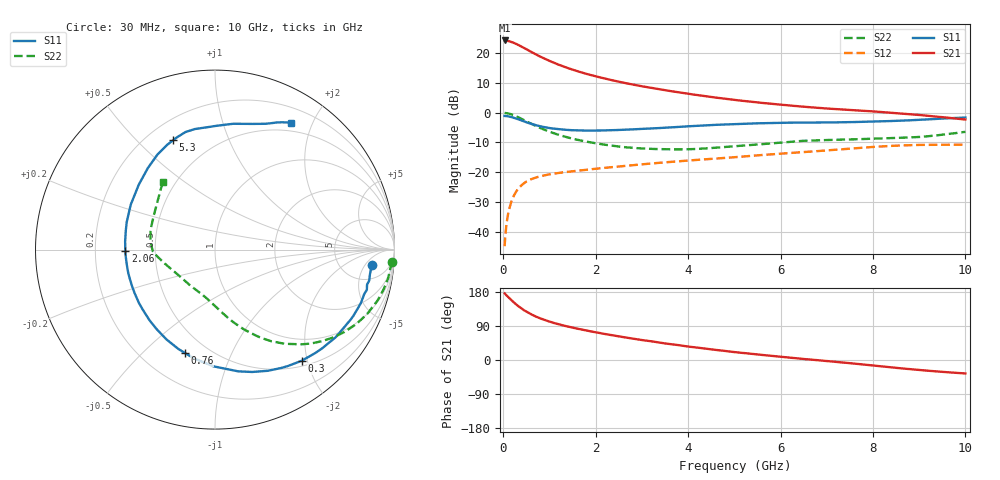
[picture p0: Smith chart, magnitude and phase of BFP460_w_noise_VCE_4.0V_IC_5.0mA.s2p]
! (c) 2016  Infineon Technologies AG, Munich
! Infineon Technologies  Discrete & RF Semiconductors
! BFP460
! VCE =  4.0 V,  IC =  5.0 mA
! Common Emitter S-Parameters:  Jan 2016
# GHz  S  MA  R  50
!  f  S11  S21  S12  S22
! GHz  MAG  ANG  MAG  ANG  MAG  ANG  MAG  ANG
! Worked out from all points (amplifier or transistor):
!   229 points, 30 MHz to 10 GHz, reference 50 ohm
!   highest |S21| = 24.2 dB at 30 MHz (marker M1)
!   |S21| within 3 dB of that: start of sweep to 506.2 MHz
!   unconditionally stable (mu >= 1): 3.079 GHz to 7.762 GHz
!   at 280 MHz: K = 0.17, MSG = 24.8 dB, |S12| = -26.6 dB
!   at 1.78 GHz: K = 0.76, MSG = 16.2 dB, |S12| = -19.2 dB
!   at 10 GHz: K = 0.94, MSG = 4.2 dB, |S12| = -10.8 dB
!   lowest NFmin = 0.78 dB at 450 MHz
!   S11 on the Smith chart (normalised r, x): 30 MHz: 10, -7; 300 MHz: 0.59, -1.91; 760 MHz: 0.38, -0.68; 2.06 GHz: 0.33, -0.01; 5.3 GHz: 0.30, +0.64; 10 GHz: 0.38, +1.70
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0.03  0.8777 -5.5  16.28 175.9  0.0057 83.2  0.9866 -3.9
0.05  0.8741 -9.0  16.14 172.8  0.0093 83.6  0.983 -5.9
0.09  0.8677 -16.5  16.06 168.2  0.017 80.2  0.9735 -10.6
0.155  0.8474 -28.2  15.54 160.3  0.0283 74.0  0.9454 -18.0
0.24  0.8119 -42.6  14.71 150.8  0.0416 66.9  0.8956 -26.8
0.3  0.7856 -52.0  14.02 144.7  0.0496 62.5  0.8547 -32.5
0.38  0.7453 -63.6  13.03 137.3  0.0585 57.2  0.7969 -39.1
0.45  0.7126 -73.1  12.19 131.3  0.0652 53.3  0.7484 -44.4
0.6  0.6503 -90.8  10.52 120.8  0.0757 46.8  0.6529 -53.5
0.76  0.5993 -106.4  9.051 112.0  0.0834 42.0  0.57 -60.9
0.9  0.5687 -118.4  8.017 105.4  0.0887 39.1  0.5116 -66.3
1.1  0.5369 -132.8  6.846 97.6  0.0944 36.3  0.448 -72.5
1.32  0.516 -146.0  5.88 90.5  0.0996 34.4  0.397 -78.0
1.7  0.5007 -164.9  4.709 80.2  0.1078 32.6  0.3367 -86.0
2.06  0.4996 -179.3  3.96 71.8  0.1153 31.7  0.3001 -92.9
2.62  0.5157 162.0  3.158 59.9  0.1271 30.7  0.2628 -104.7
3.4  0.5509 141.9  2.449 45.7  0.1438 28.9  0.2433 -122.6
5.1  0.6453 113.3  1.601 19.7  0.1805 24.7  0.2757 -159.4
5.3  0.6523 111.0  1.539 17.3  0.1858 24.1  0.2828 -162.0
6.8  0.6811 96.5  1.203 -0.5  0.2254 18.1  0.3425 -177.4
8.4  0.7216 76.0  0.993 -19.5  0.2759 7.4  0.3731 164.1
10  0.8245 59.1  0.765 -35.5  0.2893 -4.3  0.4752 127.8
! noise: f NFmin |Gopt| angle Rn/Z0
0.45  0.78  0.33  16  0.17
0.9  0.8  0.34  31  0.17
1.9  1.06  0.17  97  0.13
3.5  1.24  0.33  -153  0.1
